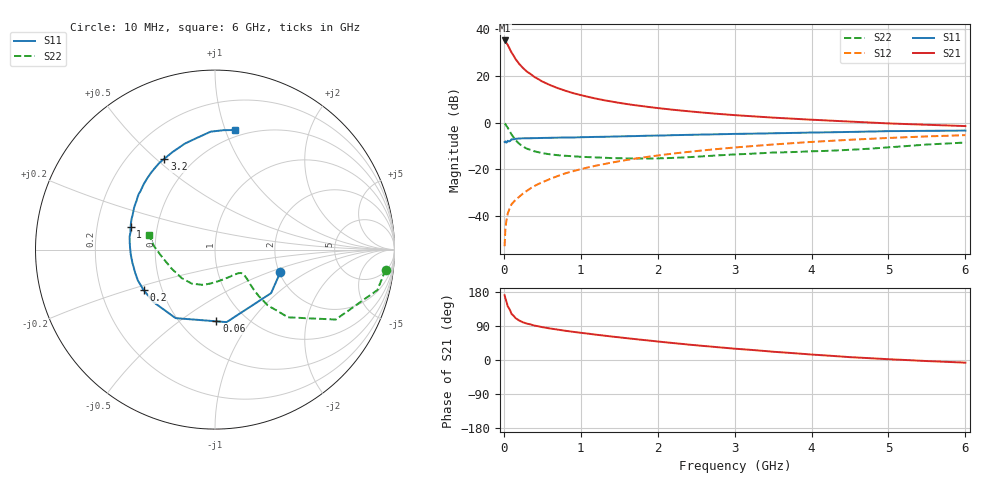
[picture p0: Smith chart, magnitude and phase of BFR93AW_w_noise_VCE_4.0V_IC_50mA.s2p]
! Infineon Technologies  Discrete & RF Semiconductors
! BFR93AW
! VCE =  4.0 V,  IC =  50 mA
! Common Emitter S-Parameters:  Jan 2017
# GHz  S  MA  R  50
!  f  S11  S21  S12  S22
! GHz  MAG  ANG  MAG  ANG  MAG  ANG  MAG  ANG
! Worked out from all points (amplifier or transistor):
!   77 points, 10 MHz to 6 GHz, reference 50 ohm
!   highest |S21| = 35.1 dB at 10 MHz (marker M1)
!   |S21| within 3 dB of that: start of sweep to 67.59 MHz
!   unconditionally stable (mu >= 1): 457.2 MHz to 2.049 GHz
!   at 130 MHz: K = 0.64, MSG = 31.1 dB, |S12| = -33.8 dB
!   at 2.2 GHz: K = 0.99, MSG = 9.4 dB, |S12| = -13.2 dB
!   at 6 GHz: K = 0.89, MSG = 1.9 dB, |S12| = -5.4 dB
!   lowest NFmin = 2.30 dB at 450 MHz
!   S11 on the Smith chart (normalised r, x): 10 MHz: 2.02, -0.60; 60 MHz: 0.73, -0.70; 200 MHz: 0.39, -0.22; 1 GHz: 0.35, +0.11; 3.2 GHz: 0.35, +0.53; 6 GHz: 0.44, +1.08
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0.01  0.385 -19.3  56.72 171.0  0.0023 85.7  0.9572 -6.7
0.02  0.3957 -37.8  55.63 162.7  0.0054 86.7  0.9324 -14.0
0.05  0.4092 -80.9  45.67 141.8  0.0113 68.5  0.7772 -30.1
0.06  0.3997 -88.9  42.49 138.9  0.0126 66.6  0.7306 -32.0
0.1  0.4404 -119.9  31.43 121.5  0.018 61.8  0.5555 -42.8
0.15  0.4502 -139.3  22.98 110.8  0.0221 61.7  0.4264 -46.6
0.2  0.4572 -150.5  17.88 104.2  0.0261 64.7  0.3536 -46.7
0.25  0.4628 -158.1  14.6 99.3  0.0306 65.1  0.3085 -45.8
0.3  0.4631 -163.5  12.28 96.0  0.035 67.0  0.2772 -44.6
0.4  0.4661 -171.1  9.369 90.7  0.0446 69.9  0.2427 -42.4
0.5  0.4702 -176.9  7.54 86.7  0.0532 71.3  0.2228 -41.5
0.6  0.4734 178.6  6.33 83.2  0.0626 71.6  0.2101 -40.9
0.7  0.4773 174.8  5.446 80.2  0.0723 72.4  0.2014 -41.1
1  0.487 165.1  3.866 71.8  0.1013 72.2  0.1863 -44.8
1.1  0.4907 162.6  3.529 69.4  0.111 71.4  0.1832 -46.7
1.5  0.5075 152.7  2.639 59.8  0.1495 69.2  0.1731 -57.4
2.1  0.533 139.7  1.96 46.8  0.2083 64.1  0.174 -79.5
3.1  0.5765 120.9  1.409 28.4  0.303 54.5  0.2123 -113.6
3.2  0.5795 119.1  1.374 26.9  0.3123 53.4  0.2158 -116.4
4.1  0.6166 104.5  1.132 13.1  0.3952 43.9  0.2462 -142.8
5.1  0.6589 90.8  0.948 1.1  0.4773 32.7  0.3041 -174.1
6  0.6755 80.5  0.843 -7.0  0.5398 22.6  0.3755 167.9
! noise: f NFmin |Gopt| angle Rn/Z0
0.45  2.3  0.26  -178  0.17
0.9  2.59  0.31  -167  0.18
1.9  3.72  0.53  -132  0.42
2.4  4.45  0.58  -122  0.79
